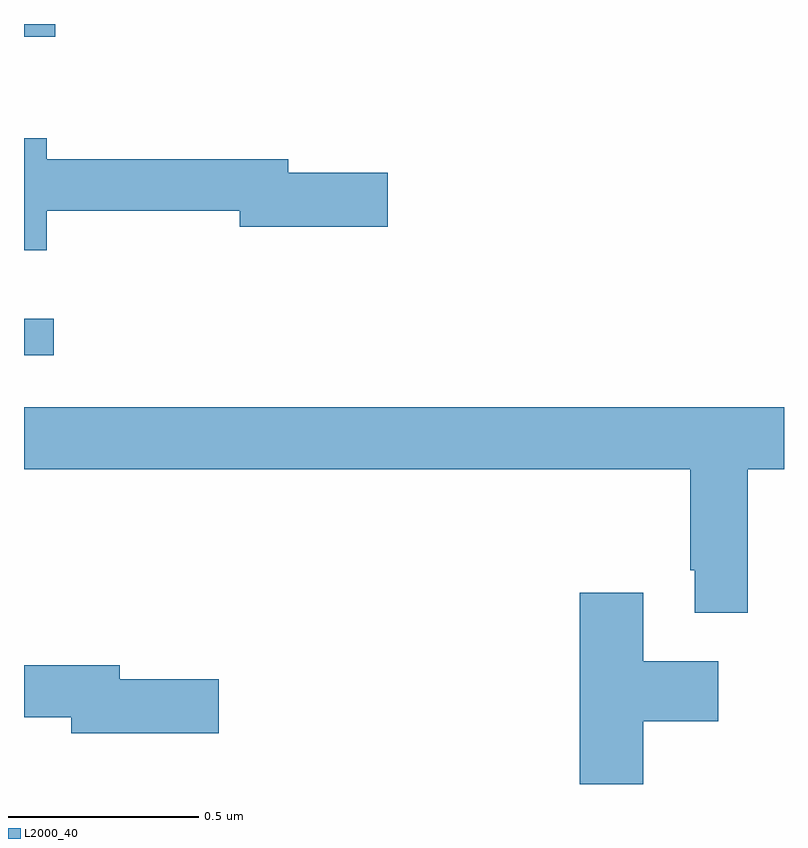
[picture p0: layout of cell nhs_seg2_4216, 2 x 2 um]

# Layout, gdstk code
import gdstk
lib = gdstk.Library(unit=1e-6, precision=1e-09)
def R(c, l, rs):  # rectangles x0, y0, x1, y1
    for r in rs: c.add(gdstk.rectangle(r[:2], r[2:], *l))
def P(c, l, *ps):  # polygons
    for p in ps: c.add(gdstk.Polygon(p, *l))
L2000_40 = (2000, 40)

nhs_seg2_4216 = lib.new_cell('nhs_seg2_4216')
R(nhs_seg2_4216, L2000_40, [(163,655.928,163.078,656.025), (163,656.766,163.082,656.8)])
P(nhs_seg2_4216, L2000_40, [(163.06,656.308),(163.568,656.308),(163.568,656.266),(163.957,656.266),(163.957,656.408),(163.696,656.408),(163.696,656.444),(163.06,656.444),(163.06,656.5),(163,656.5),(163,656.204),(163.06,656.204)],
  [(164.905,655.628),(165,655.628),(165,655.792),(163,655.792),(163,655.628),(164.753,655.628),(164.753,655.363),(164.765,655.363),(164.765,655.251),(164.905,655.251)],
  [(164.629,654.965),(164.827,654.965),(164.827,655.123),(164.629,655.123),(164.629,655.303),(164.462,655.303),(164.462,654.8),(164.629,654.8)],
  [(163.513,655.076),(163.252,655.076),(163.252,655.112),(163,655.112),(163,654.976),(163.124,654.976),(163.124,654.934),(163.513,654.934)])

lib.write_gds('nhs_seg2_4216.gds')
